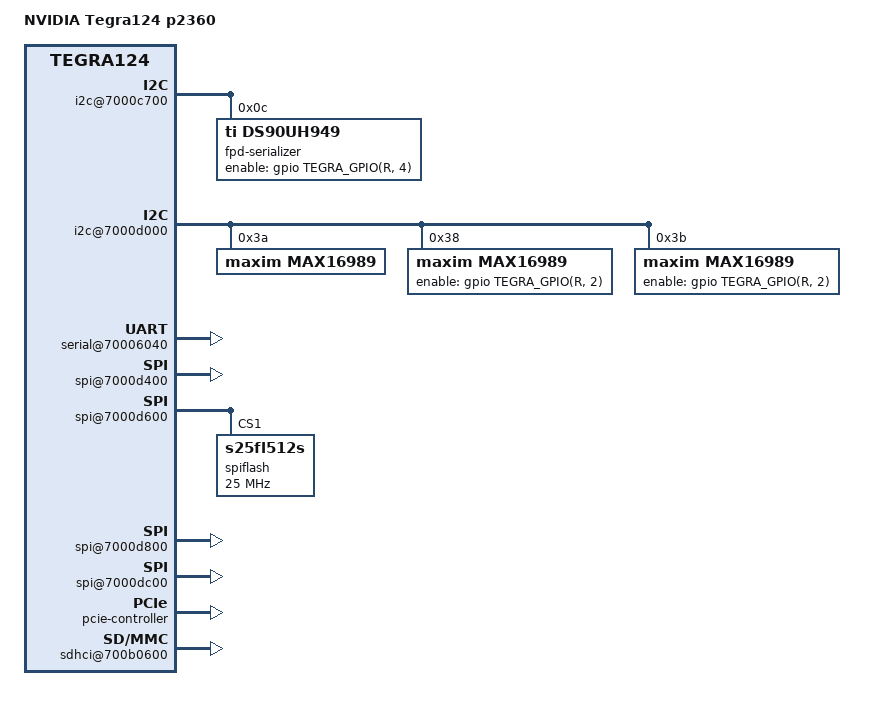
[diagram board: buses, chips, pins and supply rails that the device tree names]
/*
 * arch/arm/boot/dts/tegra124-p2360.dts
 *
 * Copyright (c) 2014, NVIDIA CORPORATION.  All rights reserved.
 *
 * This program is free software; you can redistribute it and/or modify
 * it under the terms of the GNU General Public License as published by
 * the Free Software Foundation; version 2 of the License.
 *
 * This program is distributed in the hope that it will be useful, but WITHOUT
 * ANY WARRANTY; without even the implied warranty of MERCHANTABILITY or
 * FITNESS FOR A PARTICULAR PURPOSE.  See the GNU General Public License for
 * more details.
 *
 * You should have received a copy of the GNU General Public License along
 * with this program; if not, write to the Free Software Foundation, Inc.,
 * 51 Franklin Street, Fifth Floor, Boston, MA  02110-1301, USA.
 *
 */

 /dts-v1/;

#include "tegra124-vcm30_t124.dtsi"
#include <tegra124-platforms/tegra124-vcm30-t124-hdmi.dtsi>
#include <panel-a-lvds-800-480-14-0.dtsi>
#include <dt-bindings/display/tegra-panel.h>

/ {
	model = "NVIDIA Tegra124 p2360";
	compatible = "nvidia,p2360", "nvidia,tegra124";
	nvidia,dtsfilename = __FILE__;
	#address-cells = <2>;
	#size-cells = <2>;

	host1x {
		sor {
			status = "okay";
			panel-lvds-800-480 {
				disp-default-out {
					nvidia,out-max-pixclk = <3367>;
				};
			};
		};
		/* tegradc.0 */
		dc@54200000 {
			nvidia,dc-flags = <TEGRA_DC_FLAG_ENABLED>;
			nvidia,emc-clk-rate = <300000000>;
			nvidia,fb-bpp = <32>; /* bits per pixel */
			status = "okay";
		};
		/* tegradc.1 */
		dc@54240000 {
			nvidia,emc-clk-rate = <300000000>;
			nvidia,fb-bpp = <32>; /* bits per pixel */
			status = "okay";
		};
		hdmi {
			nvidia,hpd-gpio = <&gpio 0xFFFFFFFF 1>; /* hotplug less HDMI */
			hdmi-display {
				nvidia,edid = [00 FF FF FF FF FF FF 00 04 21 00 00 00 00 00 00
						01 00 01 03 00 00 00 00 00 00 00 00 00 00 00 00
						00 00 00 00 00 00 01 01 01 01 01 01 01 01 01 01
						01 01 01 01 01 01 FE 0C 20 00 31 E0 2D 10 40 40
						43 00 00 00 00 00 00 00 00 00 00 10 00 00 00 00
						00 00 00 00 00 00 00 00 00 00 00 00 00 10 00 00
						00 00 00 00 00 00 00 00 00 00 00 00 00 00 00 10
						00 00 00 00 00 00 00 00 00 00 00 00 00 00 00 61];
				nvidia,hdmi-fpd-bridge = <TEGRA_HDMI_ENABLE>;
			};
		};
	};

	i2c@7000c700 {
		fpd-serializer@0c {
			compatible = "ti,ds90uh949";
			reg = <0x0c>;
			ti,enable-gpio = <&gpio TEGRA_GPIO(R, 4) 0>; /*PR4*/
			ti,power-on-delay = <4>;
		};
	};

	i2c@7000d000 {
		status = "okay";

		max16989@3a {
			compatible = "maxim,max16989";
			reg = <0x3a>;
			regulator-name = "max16989-vdd-cpu";
			regulator-min-microvolt = <500000>;
			regulator-max-microvolt = <1500000>;
			consumers {
				c1 {
					regulator-consumer-supply = "vdd_cpu";
				};
			};
		};

		max16989@38 {
			compatible = "maxim,max16989";
			reg = <0x38>;
			regulator-name = "max16989-vdd-gpu";
			regulator-min-microvolt = <500000>;
			regulator-max-microvolt = <1500000>;
			enable-gpio = <&gpio TEGRA_GPIO(R, 2) 0>;
			regulator-enable-ramp-delay = <210>;
			consumers {
				c1 {
					regulator-consumer-supply = "vdd_gpu";
				};
			};
		};

		max16989@3b {
			compatible = "maxim,max16989";
			reg = <0x3b>;
			regulator-name = "max16989-vdd-gpu";
			regulator-min-microvolt = <500000>;
			regulator-max-microvolt = <1500000>;
			enable-gpio = <&gpio TEGRA_GPIO(R, 2) 0>;
			regulator-enable-ramp-delay = <210>;
			consumers {
				c1 {
					regulator-consumer-supply = "vdd_gpu";
				};
			};
		};

	};


	serial@70006040 {
		compatible = "nvidia,tegra20-uart";
		console-port;
		status = "okay";
	};

	spi@7000d400 {
		status = "okay";
	};

	spi@7000d600 {
		status = "okay";
		spiflash@1 {
			compatible = "s25fl512s";
			reg = <1>;
			spi-max-frequency = <25000000>;
		};
	};

	spi@7000d800 {
		status = "okay";
	};

	spi@7000dc00 {
		status = "okay";
	};

	pcie-controller {
		status = "okay";

		pci@1,0 {
			status = "okay";
		};

		pci@2,0 {
			status = "okay";
		};
	};

	sdhci@700b0600 {
		status = "okay";
	};

	snor {
		status = "okay";
	};

	cpu_dfll_pmic_integration {
		pmic-i2c-address = <0x74>;
		pmic-i2c-voltage-register = <0x07>;
		i2c-fs-rate = <400000>;
		sel-conversion-slope = <1>;
	};

};
